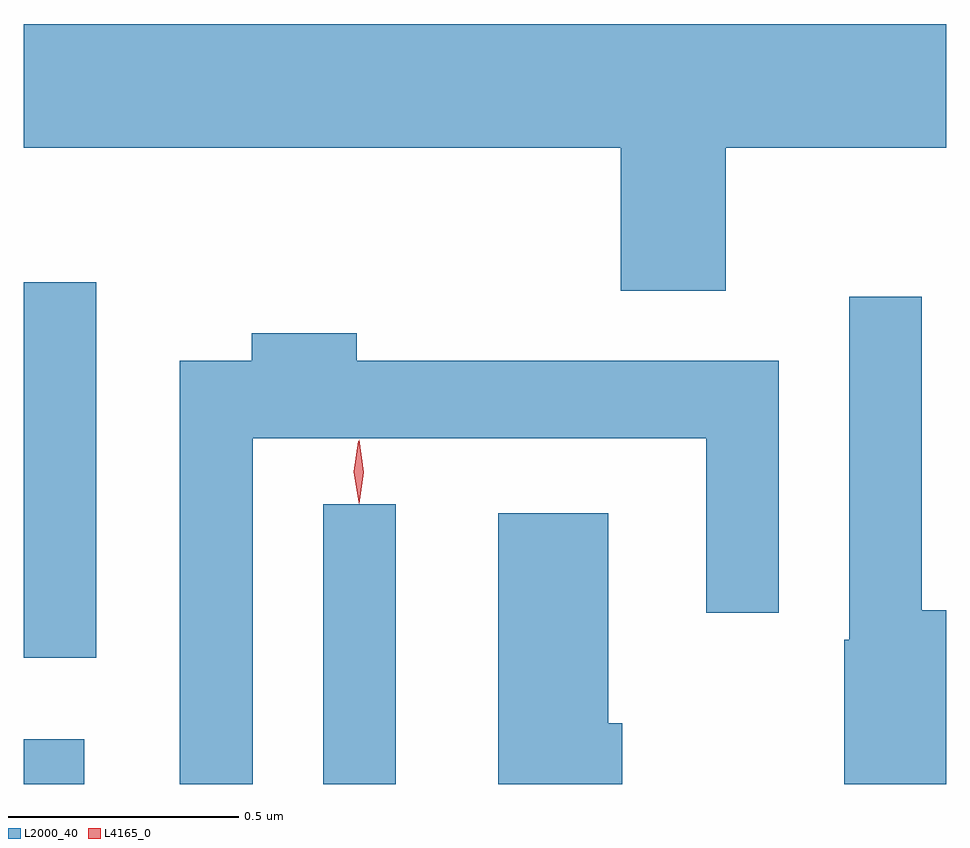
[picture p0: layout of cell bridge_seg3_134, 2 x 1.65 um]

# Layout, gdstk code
import gdstk
lib = gdstk.Library(unit=1e-6, precision=1e-09)
def R(c, l, rs):  # rectangles x0, y0, x1, y1
    for r in rs: c.add(gdstk.rectangle(r[:2], r[2:], *l))
def P(c, l, *ps):  # polygons
    for p in ps: c.add(gdstk.Polygon(p, *l))
L2000_40 = (2000, 40)
L4165_0 = (4165, 0)

bridge_seg3_134 = lib.new_cell('bridge_seg3_134')
R(bridge_seg3_134, L2000_40, [(890.957,1248.957,891.089,1249.054), (891.606,1248.957,891.764,1249.563), (890.957,1249.231,891.114,1250.044)])
P(bridge_seg3_134, L2000_40, [(892.479,1250.336),(892.957,1250.336),(892.957,1250.604),(890.957,1250.604),(890.957,1250.336),(892.251,1250.336),(892.251,1250.026),(892.479,1250.026)],
  [(892.957,1249.334),(892.904,1249.334),(892.904,1250.013),(892.746,1250.013),(892.746,1249.27),(892.736,1249.27),(892.736,1248.957),(892.957,1248.957)],
  [(891.454,1249.706),(892.436,1249.706),(892.436,1249.328),(892.594,1249.328),(892.594,1249.874),(891.679,1249.874),(891.679,1249.934),(891.451,1249.934),(891.451,1249.874),(891.296,1249.874),(891.296,1248.957),(891.454,1248.957)],
  [(892.254,1249.089),(892.224,1249.089),(892.224,1249.544),(891.986,1249.544),(891.986,1248.957),(892.254,1248.957)])
P(bridge_seg3_134, L4165_0, [(891.683,1249.567),(891.683,1249.568),(891.673,1249.634),(891.682,1249.7),(891.683,1249.7),(891.683,1249.7),(891.693,1249.634),(891.684,1249.568)],
  [(891.684,1249.564),(891.684,1249.564),(891.674,1249.633),(891.684,1249.703),(891.684,1249.703),(891.685,1249.703),(891.694,1249.633),(891.685,1249.564)])

lib.write_gds('bridge_seg3_134.gds')
